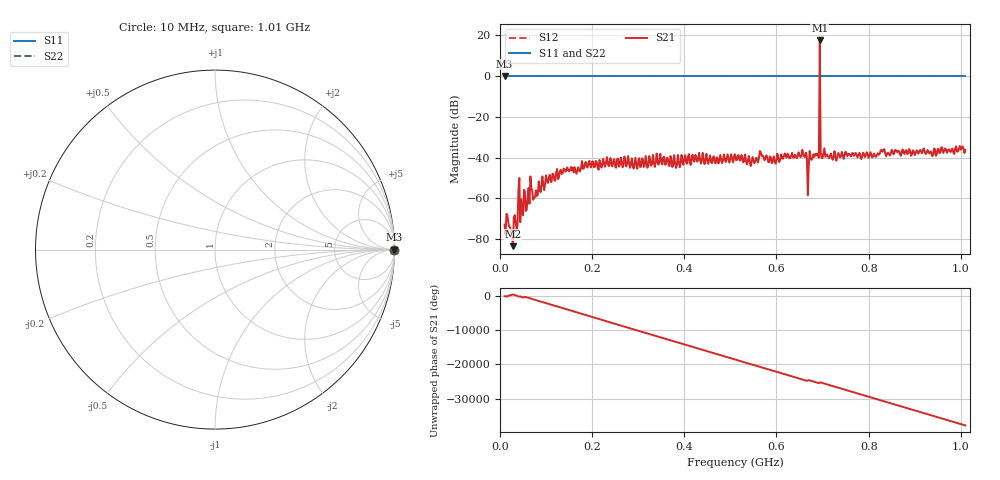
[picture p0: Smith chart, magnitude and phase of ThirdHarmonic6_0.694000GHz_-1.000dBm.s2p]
! 8/15/2025 11:11:21 PM
! C:\ANRITSUVNA\TEMP\TEMP.S2P
! CHANNEL.1
! TR.MEASUREMENT
! RAW.DATA
! RF.CORRECTION.OFF
! AVERAGING.OFF
! IF.BANDWIDTH: 5KHZ
! SWEEPTYPE:  FREQ.SWEEP(Linear)
! Reference Plane Port Info
! PORT:  PORT1  PORT2
! DISTANCE:  0  m  0  m
! TIME:  0  s  0  s
! PHASE.OFFSET:  0  deg.  0  deg.
! LOSS:  0  dB  0  dB
! REF.LOSS:  0  dB  0  dB
! REF.FREQ:  0  Hz  0  Hz
! Power Info
! POWER:  -20  dBm  -20  dBm
! EFF.POWER:  -20  dBm  -20  dBm
! SOURCE.ATTEN:  0  dB  0  dB
! TEST.ATTEN:  0  dB  0  dB
# GHZ S RI R 50.0
! FREQ.GHZ  S11RE  S11IM  S21RE  S21IM  S12RE  S12IM  S22RE  S22IM
!; PortSelection: Port_12
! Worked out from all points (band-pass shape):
!   501 points, 10 MHz to 1.01 GHz, reference 50 ohm
!   highest |S21| = 17.40 dB at 694 MHz (marker M1); lowest = -83.5 dB at 28 MHz (marker M2)
!   |S21| within 3 dB of the highest: 693.8958 MHz to 694.1091 MHz (213.3 kHz wide, 0.0307 % of centre)
!   lowest |S11| = 0.0 dB at 10 MHz (marker M3)
!   |S11| at or under -10 dB: nowhere
!   |S22| runs from 0.0 to 0.0 dB; largest |S21 - S12| = 8
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0.01  1 0  0.000219 -6.7e-05  1 0  1 0
0.028  1 0  -2.65e-05 6.17e-05  1 0  1 0
0.044  1 0  0.000101 -0.000239  1 0  1 0
0.048  1 0  0.000265 0.000359  1 0  1 0
0.06  1 0  0.000796 -0.000744  1 0  1 0
0.066  1 0  0.000352 0.00343  1 0  1 0
0.076  1 0  0.000873 0.000636  1 0  1 0
0.104  1 0  0.00174 -0.00164  1 0  1 0
0.178  1 0  -0.00781 -0.00258  1 0  1 0
0.344  1 0  0.00668 -6.25e-05  1 0  1 0
0.51  1 0  -0.0119 0.00133  1 0  1 0
0.66  1 0  0.00157 -0.0105  1 0  1 0
0.664  1 0  -0.00757 0.0108  1 0  1 0
0.672  1 0  -0.0136 0.00465  1 0  1 0
0.678  1 0  0.00329 -0.00893  1 0  1 0
0.688  1 0  -0.00606 -0.0109  1 0  1 0
0.69  1 0  -0.0106 0.00413  1 0  1 0
0.694  1 0  -3.919 -6.292  1 0  1 0
0.698  1 0  -0.00983 -0.0014  1 0  1 0
0.7  1 0  -0.00503 0.00825  1 0  1 0
0.844  1 0  -0.00182 0.012  1 0  1 0
1.01  1 0  0.00604 -0.014  1 0  1 0
